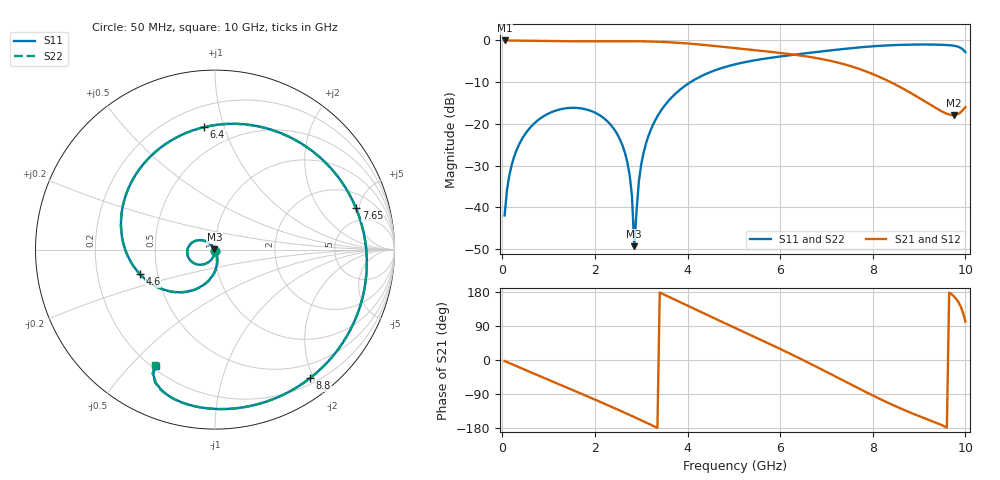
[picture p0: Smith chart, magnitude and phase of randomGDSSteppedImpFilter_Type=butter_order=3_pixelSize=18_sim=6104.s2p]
! freq	dB(S11)	phase(S11)	dB(S12)	phase(S12)
!  dB(S21)	phase(S21)	dB(S22)	phase(S22)
!S-par simulation data
#  GHz  S  DB  R 50
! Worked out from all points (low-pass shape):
!   200 points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, 50 MHz to 10 GHz, reference 50 ohm
!   highest |S21| = -0.01 dB at 50 MHz (marker M1); lowest = -17.9 dB at 9.75 GHz (marker M2)
!   |S21| within 3 dB of the highest: start of sweep to 6.006 GHz
!   lowest |S11| = -49.3 dB at 2.85 GHz (marker M3), VSWR 1.01, Z = 49.7 + j0.103 ohm
!   |S11| at or under -10 dB: start of sweep to 4.063 GHz
!   |S22| runs from -51.9 to -1.0 dB; largest |S21 - S12| = 0
!   S11 on the Smith chart (normalised r, x): 50 MHz: 1.00, -0.02; 4.6 GHz: 0.40, -0.13; 6.4 GHz: 0.33, +0.86; 7.65 GHz: 3.34, +4.67; 8.8 GHz: 0.28, -1.95; 10 GHz: 0.22, -0.59
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0.05  -41.93 -92.2  -0.01 -2.7  -0.01 -2.7  -41.93 -92.2
0.2  -29.95 -100.5  -0.02 -10.6  -0.02 -10.6  -29.95 -100.6
0.5  -22.32 -116.5  -0.06 -26.4  -0.06 -26.4  -22.32 -116.6
1.15  -16.82 -150.7  -0.16 -60.2  -0.16 -60.2  -16.82 -150.8
1.75  -16.37 178.2  -0.21 -91.3  -0.21 -91.3  -16.37 177.9
2.6  -25.29 134.5  -0.18 -136.7  -0.18 -136.7  -25.30 132.8
2.8  -37.22 130.7  -0.19 -147.8  -0.19 -147.8  -37.33 123.1
2.85  -49.29 162.4  -0.19 -150.6  -0.19 -150.6  -51.89 129.1
2.9  -40.71 -79.2  -0.19 -153.4  -0.19 -153.4  -40.99 -67.1
3  -29.70 -74.1  -0.21 -159.0  -0.21 -159.0  -29.72 -70.7
3.4  -17.27 -93.8  -0.33 178.0  -0.33 178.0  -17.27 -92.9
4.05  -10.09 -130.7  -0.77 140.4  -0.77 140.4  -10.09 -130.3
4.6  -7.13 -161.9  -1.34 108.9  -1.34 108.9  -7.13 -161.7
5.05  -5.66 172.9  -1.86 83.4  -1.86 83.4  -5.66 173.0
5.75  -4.23 133.3  -2.69 43.7  -2.69 43.7  -4.23 133.3
6.4  -3.28 95.0  -3.56 5.5  -3.56 5.5  -3.28 94.9
6.7  -2.88 76.7  -4.06 -12.7  -4.06 -12.7  -2.89 76.4
7.65  -1.73 16.3  -6.61 -72.2  -6.61 -72.2  -1.73 15.9
8.35  -1.17 -27.3  -9.80 -114.1  -9.80 -114.1  -1.17 -27.7
8.8  -1.00 -53.5  -12.46 -138.2  -12.46 -138.2  -1.00 -53.9
9.75  -1.27 -105.0  -17.91 168.3  -17.91 168.3  -1.27 -105.3
10  -2.77 -117.1  -15.99 101.5  -15.99 101.5  -2.81 -117.5
